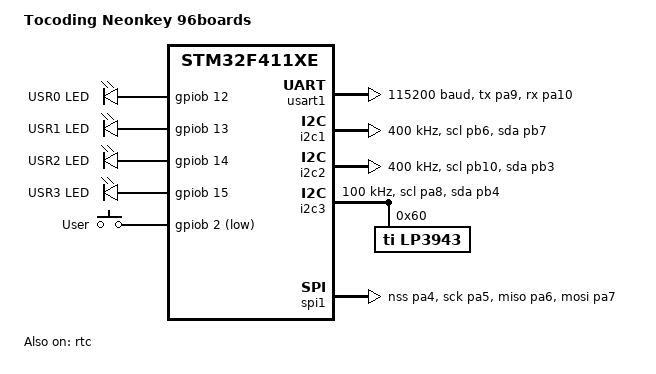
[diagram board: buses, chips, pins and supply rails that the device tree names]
/*
 * Copyright (c) 2017 Linaro Limited
 *
 * SPDX-License-Identifier: Apache-2.0
 */

/dts-v1/;
#include <st/f4/stm32f411Xe.dtsi>
#include <st/f4/stm32f411c(c-e)ux-pinctrl.dtsi>

/ {
	model = "Tocoding Neonkey 96boards";
	compatible = "tocoding,neonkey";

	chosen {
		zephyr,console = &usart1;
		zephyr,shell-uart = &usart1;
		zephyr,sram = &sram0;
		zephyr,flash = &flash0;
	};

	leds {
		compatible = "gpio-leds";
		green_led_0: led_0 {
			gpios = <&gpiob 12 GPIO_ACTIVE_HIGH>;
			label = "USR0 LED";
		};
		green_led_1: led_1 {
			gpios = <&gpiob 13 GPIO_ACTIVE_HIGH>;
			label = "USR1 LED";
		};
		green_led_2: led_2 {
			gpios = <&gpiob 14 GPIO_ACTIVE_HIGH>;
			label = "USR2 LED";
		};
		green_led_3: led_3 {
			gpios = <&gpiob 15 GPIO_ACTIVE_HIGH>;
			label = "USR3 LED";
		};
	};

	gpio_keys {
		compatible = "gpio-keys";
		user_button: button_0 {
			label = "User";
			gpios = <&gpiob 2 GPIO_ACTIVE_LOW>;
		};
	};

	aliases {
		led0 = &green_led_0;
		led1 = &green_led_1;
		led2 = &green_led_2;
		led3 = &green_led_3;
		sw0 = &user_button;
	};
};

&usart1 {
	pinctrl-0 = <&usart1_tx_pa9 &usart1_rx_pa10>;
	current-speed = <115200>;
	status = "okay";
};

&i2c1 {
	pinctrl-0 = <&i2c1_scl_pb6 &i2c1_sda_pb7>;
	status = "okay";
	clock-frequency = <I2C_BITRATE_FAST>;
};

&i2c2 {
	pinctrl-0 = <&i2c2_scl_pb10 &i2c2_sda_pb3>;
	status = "okay";
	clock-frequency = <I2C_BITRATE_FAST>;
};

&i2c3 {
	pinctrl-0 = <&i2c3_scl_pa8 &i2c3_sda_pb4>;
	status = "okay";
	clock-frequency = <I2C_BITRATE_STANDARD>;

	lp3943@60 {
		compatible = "ti,lp3943";
		reg = <0x60>;
		label = "LP3943";
	};
};

&spi1 {
	pinctrl-0 = <&spi1_nss_pa4 &spi1_sck_pa5
		     &spi1_miso_pa6 &spi1_mosi_pa7>;
	status = "okay";
};

&rtc {
	status = "okay";
};
